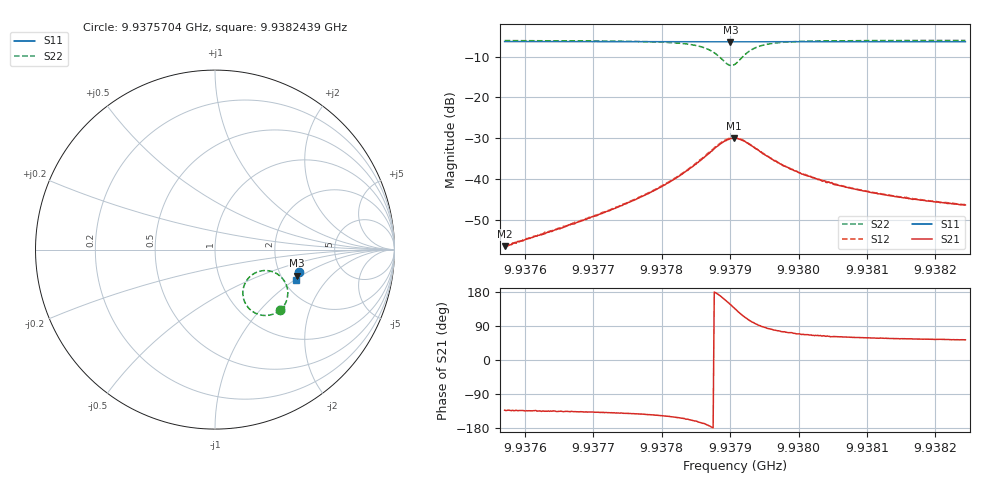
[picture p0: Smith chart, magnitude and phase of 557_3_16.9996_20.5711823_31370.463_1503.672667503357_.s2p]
#  HZ  S  RI  R  50.00
! Rohde & Schwarz Vector Network Analyzer
! Rohde-Schwarz,ZNB20-2Port,1311601062101988,3.16
! Created: UTC 3/20/2024, 11:17:03 PM
! freq[Hz]  re:S11  im:S11  re:S21  im:S21  re:S12  im:S12  re:S22  im:S22
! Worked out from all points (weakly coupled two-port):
!   401 points, 9.9375704 GHz to 9.9382439 GHz, reference 50 ohm
!   highest |S21| = -29.99 dB at 9.9379055 GHz (marker M1); lowest = -56.4 dB at 9.9375704 GHz (marker M2)
!   lowest |S11| = -6.4 dB at 9.9379004 GHz (marker M3), VSWR 2.83, Z = 121 - j45.8 ohm
!   |S11| at or under -10 dB: nowhere
!   |S22| runs from -12.2 to -6.1 dB; largest |S21 - S12| = 0.0013
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9.93757041e9  0.4657 -0.1261  -0.00102 -0.00111  -0.00107 -0.0011  0.3647 -0.3357
9.93757546e9  0.4656 -0.1264  -0.00104 -0.00114  -0.00106 -0.00109  0.3643 -0.336
9.93768323e9  0.463 -0.1337  -0.00225 -0.00212  -0.0023 -0.00213  0.3481 -0.3476
9.93774889e9  0.4612 -0.1381  -0.00388 -0.00317  -0.00402 -0.00318  0.3303 -0.3568
9.93779604e9  0.4599 -0.1414  -0.00649 -0.00433  -0.00667 -0.0043  0.306 -0.3646
9.93782803e9  0.4585 -0.1438  -0.01 -0.00507  -0.0103 -0.00499  0.2751 -0.3671
9.93786003e9  0.4569 -0.1458  -0.0175 -0.00398  -0.0178 -0.00392  0.2163 -0.3494
9.9378735e9  0.4559 -0.1466  -0.0221 -0.000959  -0.0228 -0.000547  0.1815 -0.3186
9.93788528e9  0.4551 -0.1466  -0.0263 0.00478  -0.0268 0.00576  0.1573 -0.2656
9.93789539e9  0.4545 -0.1463  -0.0273 0.0128  -0.0275 0.0139  0.1622 -0.2005
9.93790044e9  0.4544 -0.1461  -0.0261 0.0172  -0.026 0.0183  0.1792 -0.168
9.93790549e9  0.4545 -0.1459  -0.0234 0.0213  -0.0233 0.0223  0.206 -0.1412
9.93790717e9  0.4546 -0.146  -0.0224 0.0223  -0.0221 0.0235  0.2162 -0.1342
9.93791559e9  0.455 -0.1458  -0.0158 0.0259  -0.0151 0.0269  0.2731 -0.1167
9.93792738e9  0.4558 -0.1463  -0.00728 0.0258  -0.00654 0.0264  0.3395 -0.1316
9.9379459e9  0.4563 -0.1479  0.000521 0.0213  0.00103 0.0213  0.3903 -0.1818
9.93797958e9  0.456 -0.1508  0.00382 0.0139  0.0043 0.0138  0.4058 -0.2454
9.93800484e9  0.4555 -0.1528  0.00448 0.0106  0.00464 0.0108  0.4025 -0.2708
9.93801999e9  0.4552 -0.154  0.00445 0.0095  0.00444 0.00942  0.3996 -0.2814
9.93805535e9  0.4544 -0.1564  0.00401 0.00749  0.00422 0.0075  0.3929 -0.2984
9.93813281e9  0.4523 -0.1618  0.00346 0.00526  0.00355 0.00529  0.381 -0.3183
9.93824394e9  0.4489 -0.1688  0.00288 0.00387  0.00297 0.00382  0.3688 -0.3336
